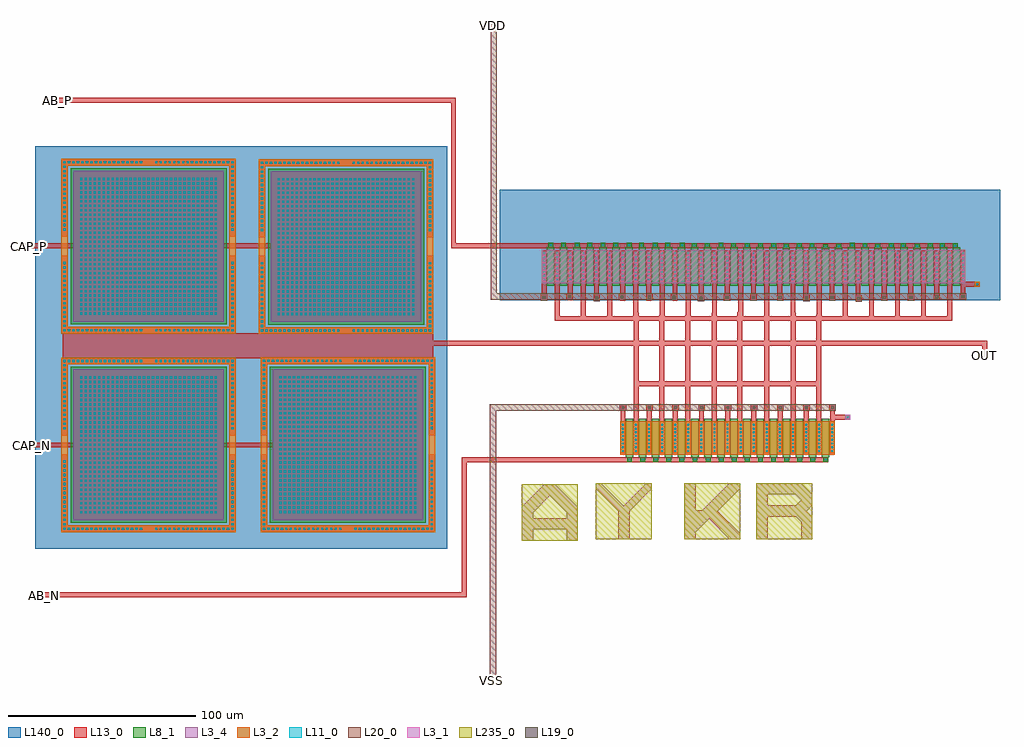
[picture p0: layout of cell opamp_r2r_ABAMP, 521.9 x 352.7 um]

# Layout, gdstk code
from math import pi, radians
import gdstk
lib = gdstk.Library(unit=1e-6, precision=1e-07)
def R(c, l, rs):  # rectangles x0, y0, x1, y1
    for r in rs: c.add(gdstk.rectangle(r[:2], r[2:], *l))
def A(c, l, x, y, w, h, nx, ny, dx, dy):  # array of equal rectangles
    R(c, l, [(x+i*dx, y+j*dy, x+i*dx+w, y+j*dy+h) for i in range(nx) for j in range(ny)])
def P(c, l, *ps):  # polygons
    for p in ps: c.add(gdstk.Polygon(p, *l))
L3_1 = (3, 1)
L3_2 = (3, 2)
L3_4 = (3, 4)
L8_1 = (8, 1)
L11_0 = (11, 0)
L13_0 = (13, 0)
L19_0 = (19, 0)
L20_0 = (20, 0)
L140_0 = (140, 0)
L235_0 = (235, 0)

moscap = lib.new_cell('moscap')
P(moscap, L3_2, [(-46.7,-46.7),(-46.7,43.1),(-43.1,43.1),(-43.1,-43.1),(43.1,-43.1),(43.1,43.1),(-46.7,43.1),(-46.7,46.7),(46.7,46.7),(46.7,-46.7)])
R(moscap, L3_4, [(-40.3,-40.3,40.3,40.3)])
R(moscap, L8_1, [(-41.7,-41.7,41.7,41.7)])
A(moscap, L11_0, -45.5, -45.5, 1.2, 1.2, 1, 18, 0, 2.4)
A(moscap, L11_0, -45.5, -45.5, 1.2, 1.2, 16, 2, 2.4, 89.8)
A(moscap, L11_0, 8.3, -45.5, 1.2, 1.2, 16, 2, 2.4, 89.8)
A(moscap, L11_0, 44.3, -45.5, 1.2, 1.2, 1, 18, 0, 2.4)
A(moscap, L11_0, -36.6, -36.6, 1.2, 1.2, 31, 31, 2.4, 2.4)
A(moscap, L11_0, -45.5, 3.5, 1.2, 1.2, 1, 18, 0, 2.4)
A(moscap, L11_0, 44.3, 3.5, 1.2, 1.2, 1, 18, 0, 2.4)
R(moscap, L13_0, [(-40.3,-40.3,40.3,40.3)])
P(moscap, L13_0, [(-46.7,-46.7),(-46.7,46.7),(-5,46.7),(-5,43.1),(-43.1,43.1),(-43.1,-43.1),(-5,-43.1),(-5,-46.7)],
  [(5,-46.7),(5,-43.1),(43.1,-43.1),(43.1,43.1),(5,43.1),(5,46.7),(46.7,46.7),(46.7,-46.7)])
R(moscap, L140_0, [(-49.7,-49.7,49.7,49.7)])

fet_p = lib.new_cell('fet_p')
R(fet_p, L3_1, [(-113.3,-9,113.3,9)])
A(fet_p, L11_0, -112.5, -7.5, 1, 1, 33, 8, 7, 2)
A(fet_p, L13_0, -113.3, -8.3, 2.6, 16.6, 33, 1, 7, 0)
fet_p.add(gdstk.FlexPath([(3.5,-10.2),(3.5,10.2)], 4, ends="flush", simple_path=True, layer=8, datatype=1))  # L8_1
fet_p.add(gdstk.FlexPath([(-3.5,-10.2),(-3.5,10.2)], 4, ends="flush", simple_path=True, layer=8, datatype=1))  # L8_1
fet_p.add(gdstk.FlexPath([(10.5,-10.2),(10.5,10.2)], 4, ends="flush", simple_path=True, layer=8, datatype=1))  # L8_1
fet_p.add(gdstk.FlexPath([(-10.5,-10.2),(-10.5,10.2)], 4, ends="flush", simple_path=True, layer=8, datatype=1))  # L8_1
fet_p.add(gdstk.FlexPath([(17.5,-10.2),(17.5,10.2)], 4, ends="flush", simple_path=True, layer=8, datatype=1))  # L8_1
fet_p.add(gdstk.FlexPath([(-17.5,-10.2),(-17.5,10.2)], 4, ends="flush", simple_path=True, layer=8, datatype=1))  # L8_1
fet_p.add(gdstk.FlexPath([(24.5,-10.2),(24.5,10.2)], 4, ends="flush", simple_path=True, layer=8, datatype=1))  # L8_1
fet_p.add(gdstk.FlexPath([(-24.5,-10.2),(-24.5,10.2)], 4, ends="flush", simple_path=True, layer=8, datatype=1))  # L8_1
fet_p.add(gdstk.FlexPath([(31.5,-10.2),(31.5,10.2)], 4, ends="flush", simple_path=True, layer=8, datatype=1))  # L8_1
fet_p.add(gdstk.FlexPath([(-31.5,-10.2),(-31.5,10.2)], 4, ends="flush", simple_path=True, layer=8, datatype=1))  # L8_1
fet_p.add(gdstk.FlexPath([(38.5,-10.2),(38.5,10.2)], 4, ends="flush", simple_path=True, layer=8, datatype=1))  # L8_1
fet_p.add(gdstk.FlexPath([(-38.5,-10.2),(-38.5,10.2)], 4, ends="flush", simple_path=True, layer=8, datatype=1))  # L8_1
fet_p.add(gdstk.FlexPath([(45.5,-10.2),(45.5,10.2)], 4, ends="flush", simple_path=True, layer=8, datatype=1))  # L8_1
fet_p.add(gdstk.FlexPath([(-45.5,-10.2),(-45.5,10.2)], 4, ends="flush", simple_path=True, layer=8, datatype=1))  # L8_1
fet_p.add(gdstk.FlexPath([(52.5,-10.2),(52.5,10.2)], 4, ends="flush", simple_path=True, layer=8, datatype=1))  # L8_1
fet_p.add(gdstk.FlexPath([(-52.5,-10.2),(-52.5,10.2)], 4, ends="flush", simple_path=True, layer=8, datatype=1))  # L8_1
fet_p.add(gdstk.FlexPath([(59.5,-10.2),(59.5,10.2)], 4, ends="flush", simple_path=True, layer=8, datatype=1))  # L8_1
fet_p.add(gdstk.FlexPath([(-59.5,-10.2),(-59.5,10.2)], 4, ends="flush", simple_path=True, layer=8, datatype=1))  # L8_1
fet_p.add(gdstk.FlexPath([(66.5,-10.2),(66.5,10.2)], 4, ends="flush", simple_path=True, layer=8, datatype=1))  # L8_1
fet_p.add(gdstk.FlexPath([(-66.5,-10.2),(-66.5,10.2)], 4, ends="flush", simple_path=True, layer=8, datatype=1))  # L8_1
fet_p.add(gdstk.FlexPath([(73.5,-10.2),(73.5,10.2)], 4, ends="flush", simple_path=True, layer=8, datatype=1))  # L8_1
fet_p.add(gdstk.FlexPath([(-73.5,-10.2),(-73.5,10.2)], 4, ends="flush", simple_path=True, layer=8, datatype=1))  # L8_1
fet_p.add(gdstk.FlexPath([(80.5,-10.2),(80.5,10.2)], 4, ends="flush", simple_path=True, layer=8, datatype=1))  # L8_1
fet_p.add(gdstk.FlexPath([(-80.5,-10.2),(-80.5,10.2)], 4, ends="flush", simple_path=True, layer=8, datatype=1))  # L8_1
fet_p.add(gdstk.FlexPath([(87.5,-10.2),(87.5,10.2)], 4, ends="flush", simple_path=True, layer=8, datatype=1))  # L8_1
fet_p.add(gdstk.FlexPath([(-87.5,-10.2),(-87.5,10.2)], 4, ends="flush", simple_path=True, layer=8, datatype=1))  # L8_1
fet_p.add(gdstk.FlexPath([(94.5,-10.2),(94.5,10.2)], 4, ends="flush", simple_path=True, layer=8, datatype=1))  # L8_1
fet_p.add(gdstk.FlexPath([(-94.5,-10.2),(-94.5,10.2)], 4, ends="flush", simple_path=True, layer=8, datatype=1))  # L8_1
fet_p.add(gdstk.FlexPath([(101.5,-10.2),(101.5,10.2)], 4, ends="flush", simple_path=True, layer=8, datatype=1))  # L8_1
fet_p.add(gdstk.FlexPath([(-101.5,-10.2),(-101.5,10.2)], 4, ends="flush", simple_path=True, layer=8, datatype=1))  # L8_1
fet_p.add(gdstk.FlexPath([(108.5,-10.2),(108.5,10.2)], 4, ends="flush", simple_path=True, layer=8, datatype=1))  # L8_1
fet_p.add(gdstk.FlexPath([(-108.5,-10.2),(-108.5,10.2)], 4, ends="flush", simple_path=True, layer=8, datatype=1))  # L8_1

fet_n = lib.new_cell('fet_n')
R(fet_n, L3_2, [(-57.3,-9,57.3,9)])
A(fet_n, L11_0, -56.5, -7.5, 1, 1, 17, 8, 7, 2)
A(fet_n, L13_0, -57.3, -8.3, 2.6, 16.6, 17, 1, 7, 0)
fet_n.add(gdstk.FlexPath([(3.5,-10.2),(3.5,10.2)], 4, ends="flush", simple_path=True, layer=8, datatype=1))  # L8_1
fet_n.add(gdstk.FlexPath([(-3.5,-10.2),(-3.5,10.2)], 4, ends="flush", simple_path=True, layer=8, datatype=1))  # L8_1
fet_n.add(gdstk.FlexPath([(10.5,-10.2),(10.5,10.2)], 4, ends="flush", simple_path=True, layer=8, datatype=1))  # L8_1
fet_n.add(gdstk.FlexPath([(-10.5,-10.2),(-10.5,10.2)], 4, ends="flush", simple_path=True, layer=8, datatype=1))  # L8_1
fet_n.add(gdstk.FlexPath([(17.5,-10.2),(17.5,10.2)], 4, ends="flush", simple_path=True, layer=8, datatype=1))  # L8_1
fet_n.add(gdstk.FlexPath([(-17.5,-10.2),(-17.5,10.2)], 4, ends="flush", simple_path=True, layer=8, datatype=1))  # L8_1
fet_n.add(gdstk.FlexPath([(24.5,-10.2),(24.5,10.2)], 4, ends="flush", simple_path=True, layer=8, datatype=1))  # L8_1
fet_n.add(gdstk.FlexPath([(-24.5,-10.2),(-24.5,10.2)], 4, ends="flush", simple_path=True, layer=8, datatype=1))  # L8_1
fet_n.add(gdstk.FlexPath([(31.5,-10.2),(31.5,10.2)], 4, ends="flush", simple_path=True, layer=8, datatype=1))  # L8_1
fet_n.add(gdstk.FlexPath([(-31.5,-10.2),(-31.5,10.2)], 4, ends="flush", simple_path=True, layer=8, datatype=1))  # L8_1
fet_n.add(gdstk.FlexPath([(38.5,-10.2),(38.5,10.2)], 4, ends="flush", simple_path=True, layer=8, datatype=1))  # L8_1
fet_n.add(gdstk.FlexPath([(-38.5,-10.2),(-38.5,10.2)], 4, ends="flush", simple_path=True, layer=8, datatype=1))  # L8_1
fet_n.add(gdstk.FlexPath([(45.5,-10.2),(45.5,10.2)], 4, ends="flush", simple_path=True, layer=8, datatype=1))  # L8_1
fet_n.add(gdstk.FlexPath([(-45.5,-10.2),(-45.5,10.2)], 4, ends="flush", simple_path=True, layer=8, datatype=1))  # L8_1
fet_n.add(gdstk.FlexPath([(52.5,-10.2),(52.5,10.2)], 4, ends="flush", simple_path=True, layer=8, datatype=1))  # L8_1
fet_n.add(gdstk.FlexPath([(-52.5,-10.2),(-52.5,10.2)], 4, ends="flush", simple_path=True, layer=8, datatype=1))  # L8_1

via_1 = lib.new_cell('via_1')
R(via_1, L13_0, [(-1.7,-1.7,1.7,1.7)])
R(via_1, L19_0, [(-0.7,-0.7,0.7,0.7)])
R(via_1, L20_0, [(-1.7,-1.7,1.7,1.7)])

cont_g = lib.new_cell('cont_g')
R(cont_g, L8_1, [(-1.3,-1.3,1.3,1.3)])
R(cont_g, L11_0, [(-0.5,-0.5,0.5,0.5)])
R(cont_g, L13_0, [(-1.3,-1.3,1.3,1.3)])

cont_n = lib.new_cell('cont_n')
R(cont_n, L3_2, [(-1.3,-1.3,1.3,1.3)])
R(cont_n, L11_0, [(-0.5,-0.5,0.5,0.5)])
R(cont_n, L13_0, [(-1.3,-1.3,1.3,1.3)])

cont_p = lib.new_cell('cont_p')
R(cont_p, L3_1, [(-1.3,-1.3,1.3,1.3)])
R(cont_p, L11_0, [(-0.5,-0.5,0.5,0.5)])
R(cont_p, L13_0, [(-1.3,-1.3,1.3,1.3)])

c_a = lib.new_cell('A')
P(c_a, L20_0, [(0,0),(0,18),(12,30),(18,30),(30,18),(30,0),(24,0),(24,6),(6,6),(6,12),(24,12),(24,15),(15,24),(6,15),(6,0)])
R(c_a, L235_0, [(0,0,30,30)])

c_y = lib.new_cell('Y')
P(c_y, L20_0, [(12,0),(12,15),(0,27),(0,30),(3,30),(15,18),(27,30),(30,30),(30,27),(18,15),(18,0)])
R(c_y, L235_0, [(0,0,30,30)])

c_k = lib.new_cell('K')
P(c_k, L20_0, [(0,0),(0,30),(6,30),(6,15.5),(9.5,15.5),(24,30),(30,30),(30,27),(18,15),(30,3),(30,0),(24,0),(13.2,10.8),(6,3.6),(6,0)])
R(c_k, L235_0, [(0,0,30,30)])

c_r = lib.new_cell('R')
P(c_r, L20_0, [(0,0),(0,30),(24,30),(30,24),(30,18),(27,15),(30,12),(30,0),(24,0),(24,9),(21,12),(6,12),(6,18),(21,18),(24,21),(21,24),(6,24),(6,0)])
R(c_r, L235_0, [(0,0,30,30)])

opamp_r2r_abamp = lib.new_cell('opamp_r2r_ABAMP')
R(opamp_r2r_abamp, L13_0, [(95.5,-62.8,147.3,-49.1)])
P(opamp_r2r_abamp, L13_0, [(-50.8,-62.7),(-50.8,-49.1),(93.6,-49.1),(96.3,-49.1),(96.3,-62.7),(93.3,-62.7)])
R(opamp_r2r_abamp, L140_0, [(-65.4,-164.4,154.8,50.8), (182.8,-31.7,450.4,27.6)])
opamp_r2r_abamp.add(gdstk.FlexPath([(430.6,-21.8),(430.6,-29.4),(429.3,-29.4)], 2.6, ends="flush", simple_path=True, layer=13, datatype=0))  # L13_0
opamp_r2r_abamp.add(gdstk.FlexPath([(423.6,-21.8),(423.6,-41.3),(213.6,-41.3),(213.6,-21.5)], 2.6, ends="flush", simple_path=True, layer=13, datatype=0))  # L13_0
opamp_r2r_abamp.add(gdstk.FlexPath([(416.6,-21.6),(416.6,-30),(415.3,-30),(415.3,-30)], 2.6, ends="flush", simple_path=True, layer=13, datatype=0))  # L13_0
opamp_r2r_abamp.add(gdstk.FlexPath([(409.5,-21.5),(409.5,-40.8)], 2.6, ends="flush", simple_path=True, layer=13, datatype=0))  # L13_0
opamp_r2r_abamp.add(gdstk.FlexPath([(402.6,-21.6),(402.6,-31.6)], 2.6, ends="flush", simple_path=True, layer=13, datatype=0))  # L13_0
opamp_r2r_abamp.add(gdstk.FlexPath([(395.6,-21.4),(395.6,-41)], 2.6, ends="flush", simple_path=True, layer=13, datatype=0))  # L13_0
opamp_r2r_abamp.add(gdstk.FlexPath([(388.6,-21.5),(388.6,-31.7)], 2.6, ends="flush", simple_path=True, layer=13, datatype=0))  # L13_0
opamp_r2r_abamp.add(gdstk.FlexPath([(381.7,-21.5),(381.7,-40.5)], 2.6, ends="flush", simple_path=True, layer=13, datatype=0))  # L13_0
opamp_r2r_abamp.add(gdstk.FlexPath([(374.5,-21.6),(374.5,-31.7)], 2.6, ends="flush", simple_path=True, layer=13, datatype=0))  # L13_0
opamp_r2r_abamp.add(gdstk.FlexPath([(367.6,-21.5),(367.6,-41.1)], 2.6, ends="flush", simple_path=True, layer=13, datatype=0))  # L13_0
opamp_r2r_abamp.add(gdstk.FlexPath([(360.6,-21.4),(360.6,-31.8)], 2.6, ends="flush", simple_path=True, layer=13, datatype=0))  # L13_0
opamp_r2r_abamp.add(gdstk.FlexPath([(353.7,-21.5),(353.7,-40.7)], 2.6, ends="flush", simple_path=True, layer=13, datatype=0))  # L13_0
opamp_r2r_abamp.add(gdstk.FlexPath([(346.6,-21.5),(346.6,-31.9)], 2.6, ends="flush", simple_path=True, layer=13, datatype=0))  # L13_0
opamp_r2r_abamp.add(gdstk.FlexPath([(339.7,-21.7),(339.7,-40.7)], 2.6, ends="flush", simple_path=True, layer=13, datatype=0))  # L13_0
opamp_r2r_abamp.add(gdstk.FlexPath([(325.7,-21.7),(325.7,-40.7)], 2.6, ends="flush", simple_path=True, layer=13, datatype=0))  # L13_0
opamp_r2r_abamp.add(gdstk.FlexPath([(311.7,-21.7),(311.7,-40.7)], 2.6, ends="flush", simple_path=True, layer=13, datatype=0))  # L13_0
opamp_r2r_abamp.add(gdstk.FlexPath([(297.7,-21.7),(297.7,-40.7)], 2.6, ends="flush", simple_path=True, layer=13, datatype=0))  # L13_0
opamp_r2r_abamp.add(gdstk.FlexPath([(283.7,-21.7),(283.7,-40.7)], 2.6, ends="flush", simple_path=True, layer=13, datatype=0))  # L13_0
opamp_r2r_abamp.add(gdstk.FlexPath([(269.7,-21.7),(269.7,-40.7)], 2.6, ends="flush", simple_path=True, layer=13, datatype=0))  # L13_0
opamp_r2r_abamp.add(gdstk.FlexPath([(255.7,-21.7),(255.7,-40.7)], 2.6, ends="flush", simple_path=True, layer=13, datatype=0))  # L13_0
opamp_r2r_abamp.add(gdstk.FlexPath([(241.7,-21.7),(241.7,-40.7)], 2.6, ends="flush", simple_path=True, layer=13, datatype=0))  # L13_0
opamp_r2r_abamp.add(gdstk.FlexPath([(332.6,-21.5),(332.6,-31.9)], 2.6, ends="flush", simple_path=True, layer=13, datatype=0))  # L13_0
opamp_r2r_abamp.add(gdstk.FlexPath([(318.6,-21.5),(318.6,-31.9)], 2.6, ends="flush", simple_path=True, layer=13, datatype=0))  # L13_0
opamp_r2r_abamp.add(gdstk.FlexPath([(304.6,-21.5),(304.6,-31.9)], 2.6, ends="flush", simple_path=True, layer=13, datatype=0))  # L13_0
opamp_r2r_abamp.add(gdstk.FlexPath([(290.6,-21.5),(290.6,-31.9)], 2.6, ends="flush", simple_path=True, layer=13, datatype=0))  # L13_0
opamp_r2r_abamp.add(gdstk.FlexPath([(276.6,-21.5),(276.6,-31.9)], 2.6, ends="flush", simple_path=True, layer=13, datatype=0))  # L13_0
opamp_r2r_abamp.add(gdstk.FlexPath([(262.6,-21.5),(262.6,-31.9)], 2.6, ends="flush", simple_path=True, layer=13, datatype=0))  # L13_0
opamp_r2r_abamp.add(gdstk.FlexPath([(248.6,-21.5),(248.6,-31.9)], 2.6, ends="flush", simple_path=True, layer=13, datatype=0))  # L13_0
opamp_r2r_abamp.add(gdstk.FlexPath([(234.6,-21.5),(234.6,-31.9)], 2.6, ends="flush", simple_path=True, layer=13, datatype=0))  # L13_0
opamp_r2r_abamp.add(gdstk.FlexPath([(227.6,-21.3),(227.6,-40.3)], 2.6, ends="flush", simple_path=True, layer=13, datatype=0))  # L13_0
opamp_r2r_abamp.add(gdstk.FlexPath([(220.6,-21.7),(220.6,-31.6)], 2.6, ends="flush", simple_path=True, layer=13, datatype=0))  # L13_0
opamp_r2r_abamp.add(gdstk.FlexPath([(206.7,-21.7),(206.7,-31.9)], 2.6, ends="flush", simple_path=True, layer=13, datatype=0))  # L13_0
opamp_r2r_abamp.add(gdstk.FlexPath([(255.9,-38.2),(255.9,-96.7)], 2.6, ends="flush", simple_path=True, layer=13, datatype=0))  # L13_0
opamp_r2r_abamp.add(gdstk.FlexPath([(269.6,-39.5),(269.6,-97.4)], 2.6, ends="flush", simple_path=True, layer=13, datatype=0))  # L13_0
opamp_r2r_abamp.add(gdstk.FlexPath([(283.4,-39.5),(283.4,-97.3)], 2.6, ends="flush", simple_path=True, layer=13, datatype=0))  # L13_0
opamp_r2r_abamp.add(gdstk.FlexPath([(297.6,-38.6),(297.6,-97)], 2.6, ends="flush", simple_path=True, layer=13, datatype=0))  # L13_0
opamp_r2r_abamp.add(gdstk.FlexPath([(311.3,-38.1),(311.3,-97.2)], 2.6, ends="flush", simple_path=True, layer=13, datatype=0))  # L13_0
opamp_r2r_abamp.add(gdstk.FlexPath([(325.6,-37.3),(325.6,-96.7)], 2.6, ends="flush", simple_path=True, layer=13, datatype=0))  # L13_0
opamp_r2r_abamp.add(gdstk.FlexPath([(339.9,-38.3),(339.9,-97.5)], 2.6, ends="flush", simple_path=True, layer=13, datatype=0))  # L13_0
opamp_r2r_abamp.add(gdstk.FlexPath([(353.4,-39.3),(353.4,-97)], 2.6, ends="flush", simple_path=True, layer=13, datatype=0))  # L13_0
opamp_r2r_abamp.add(gdstk.FlexPath([(430.6,-23.1),(439.6,-23.1)], 2.6, ends="flush", simple_path=True, layer=13, datatype=0))  # L13_0
opamp_r2r_abamp.add(gdstk.FlexPath([(360.8,-97),(360.8,-87.2)], 2.6, ends="flush", simple_path=True, layer=13, datatype=0))  # L13_0
opamp_r2r_abamp.add(gdstk.FlexPath([(360.4,-94.1),(370.3,-94.1)], 2.6, ends="flush", simple_path=True, layer=13, datatype=0))  # L13_0
opamp_r2r_abamp.add(gdstk.FlexPath([(346.8,-97),(346.8,-87.2)], 2.6, ends="flush", simple_path=True, layer=13, datatype=0))  # L13_0
opamp_r2r_abamp.add(gdstk.FlexPath([(332.8,-97),(332.8,-87.2)], 2.6, ends="flush", simple_path=True, layer=13, datatype=0))  # L13_0
opamp_r2r_abamp.add(gdstk.FlexPath([(318.8,-97),(318.8,-87.2)], 2.6, ends="flush", simple_path=True, layer=13, datatype=0))  # L13_0
opamp_r2r_abamp.add(gdstk.FlexPath([(304.8,-97),(304.8,-87.2)], 2.6, ends="flush", simple_path=True, layer=13, datatype=0))  # L13_0
opamp_r2r_abamp.add(gdstk.FlexPath([(290.8,-97),(290.8,-87.2)], 2.6, ends="flush", simple_path=True, layer=13, datatype=0))  # L13_0
opamp_r2r_abamp.add(gdstk.FlexPath([(276.8,-97),(276.8,-87.2)], 2.6, ends="flush", simple_path=True, layer=13, datatype=0))  # L13_0
opamp_r2r_abamp.add(gdstk.FlexPath([(262.8,-97),(262.8,-87.2)], 2.6, ends="flush", simple_path=True, layer=13, datatype=0))  # L13_0
opamp_r2r_abamp.add(gdstk.FlexPath([(248.8,-97),(248.8,-87.2)], 2.6, ends="flush", simple_path=True, layer=13, datatype=0))  # L13_0
opamp_r2r_abamp.add(gdstk.FlexPath([(358.5,-116.9),(164,-116.9),(164,-189),(-61.5,-189)], 2.6, ends="flush", simple_path=True, layer=13, datatype=0))  # L13_0
opamp_r2r_abamp.add(gdstk.FlexPath([(255.8,-76.3),(353.9,-76.3)], 2.6, ends="flush", simple_path=True, layer=13, datatype=0))  # L13_0
opamp_r2r_abamp.add(gdstk.FlexPath([(146.7,-54.6),(442.3,-54.6),(442.3,-61.6)], 2.6, ends="flush", simple_path=True, layer=13, datatype=0))  # L13_0
opamp_r2r_abamp.add(gdstk.FlexPath([(140.7,-2.5),(-71.5,-2.5)], 2.6, ends="flush", simple_path=True, layer=13, datatype=0))  # L13_0
opamp_r2r_abamp.add(gdstk.FlexPath([(142.1,-109),(-68,-109)], 2.6, ends="flush", simple_path=True, layer=13, datatype=0))  # L13_0
opamp_r2r_abamp.add(gdstk.FlexPath([(255.8,-95.1),(255.8,-97.3)], 2.6, ends="flush", simple_path=True, layer=13, datatype=0))  # L13_0
opamp_r2r_abamp.add(gdstk.FlexPath([(325.7,-95.7),(325.7,-97.2)], 2.6, ends="flush", simple_path=True, layer=13, datatype=0))  # L13_0
opamp_r2r_abamp.add(gdstk.FlexPath([(427.7,-2.4),(158.2,-2.4),(158.2,75.4),(-54.3,75.4)], 2.6, ends="flush", simple_path=True, layer=13, datatype=0))  # L13_0
opamp_r2r_abamp.add(gdstk.FlexPath([(432.4,-29.6),(179.7,-29.6),(179.7,116.3)], 3.4, ends="flush", simple_path=True, layer=20, datatype=0))  # L20_0
opamp_r2r_abamp.add(gdstk.FlexPath([(362.5,-88.9),(179.3,-88.9),(179.3,-236.4)], 3.4, ends="flush", simple_path=True, layer=20, datatype=0))  # L20_0
opamp_r2r_abamp.add(gdstk.Reference(moscap, (-4.9,-2.7), rotation=pi/2))
opamp_r2r_abamp.add(gdstk.Reference(moscap, (100.7,-2.9), rotation=pi/2))
opamp_r2r_abamp.add(gdstk.Reference(moscap, (-4.9,-108.9), rotation=pi/2))
opamp_r2r_abamp.add(gdstk.Reference(moscap, (101.7,-108.8), rotation=pi/2))
opamp_r2r_abamp.add(gdstk.Reference(fet_p, (318.6,-13.5)))
opamp_r2r_abamp.add(gdstk.Reference(fet_n, (304.7,-105.2)))
opamp_r2r_abamp.add(gdstk.Reference(via_1, (416.6,-29.7)))
opamp_r2r_abamp.add(gdstk.Reference(via_1, (430.7,-29.5)))
opamp_r2r_abamp.add(gdstk.Reference(via_1, (402.8,-30.1)))
opamp_r2r_abamp.add(gdstk.Reference(via_1, (388.5,-30.2)))
opamp_r2r_abamp.add(gdstk.Reference(via_1, (374.9,-30.7)))
opamp_r2r_abamp.add(gdstk.Reference(via_1, (360.7,-30.2)))
opamp_r2r_abamp.add(gdstk.Reference(via_1, (346.9,-30.3)))
opamp_r2r_abamp.add(gdstk.Reference(via_1, (332.9,-30.1)))
opamp_r2r_abamp.add(gdstk.Reference(via_1, (318.5,-30.1)))
opamp_r2r_abamp.add(gdstk.Reference(via_1, (304.4,-30.2)))
opamp_r2r_abamp.add(gdstk.Reference(via_1, (290.6,-30.5)))
opamp_r2r_abamp.add(gdstk.Reference(via_1, (276.1,-30)))
opamp_r2r_abamp.add(gdstk.Reference(via_1, (263,-30)))
opamp_r2r_abamp.add(gdstk.Reference(via_1, (248.3,-29.9)))
opamp_r2r_abamp.add(gdstk.Reference(via_1, (234.8,-30.3)))
opamp_r2r_abamp.add(gdstk.Reference(via_1, (220.2,-29.6)))
opamp_r2r_abamp.add(gdstk.Reference(via_1, (206.6,-30.2)))
opamp_r2r_abamp.add(gdstk.Reference(cont_g, (210.1,-2)))
opamp_r2r_abamp.add(gdstk.Reference(cont_g, (217,-2.1)))
opamp_r2r_abamp.add(gdstk.Reference(cont_g, (224.3,-2)))
opamp_r2r_abamp.add(gdstk.Reference(cont_g, (231.1,-2.1)))
opamp_r2r_abamp.add(gdstk.Reference(cont_g, (238.1,-2.2)))
opamp_r2r_abamp.add(gdstk.Reference(cont_g, (244.9,-2.1)))
opamp_r2r_abamp.add(gdstk.Reference(cont_g, (252.1,-2.2)))
opamp_r2r_abamp.add(gdstk.Reference(cont_g, (258.7,-2.2)))
opamp_r2r_abamp.add(gdstk.Reference(cont_g, (266.1,-2.2)))
opamp_r2r_abamp.add(gdstk.Reference(cont_g, (272.8,-2.2)))
opamp_r2r_abamp.add(gdstk.Reference(cont_g, (280.4,-2.2)))
opamp_r2r_abamp.add(gdstk.Reference(cont_g, (286.9,-2.3)))
opamp_r2r_abamp.add(gdstk.Reference(cont_g, (293.9,-2.3)))
opamp_r2r_abamp.add(gdstk.Reference(cont_g, (301.2,-2.2)))
opamp_r2r_abamp.add(gdstk.Reference(cont_g, (307.9,-2.3)))
opamp_r2r_abamp.add(gdstk.Reference(cont_g, (315.2,-2.5)))
opamp_r2r_abamp.add(gdstk.Reference(cont_g, (322.3,-2.3)))
opamp_r2r_abamp.add(gdstk.Reference(cont_g, (329.5,-2.4)))
opamp_r2r_abamp.add(gdstk.Reference(cont_g, (336.1,-2.7)))
opamp_r2r_abamp.add(gdstk.Reference(cont_g, (343.1,-2.4)))
opamp_r2r_abamp.add(gdstk.Reference(cont_g, (349.9,-2.4)))
opamp_r2r_abamp.add(gdstk.Reference(cont_g, (357.1,-2.8)))
opamp_r2r_abamp.add(gdstk.Reference(cont_g, (364.1,-2.7)))
opamp_r2r_abamp.add(gdstk.Reference(cont_g, (371.4,-2.2)))
opamp_r2r_abamp.add(gdstk.Reference(cont_g, (378.2,-2.4)))
opamp_r2r_abamp.add(gdstk.Reference(cont_g, (385.1,-2.7)))
opamp_r2r_abamp.add(gdstk.Reference(cont_g, (392.2,-2.4)))
opamp_r2r_abamp.add(gdstk.Reference(cont_g, (398.7,-2.4)))
opamp_r2r_abamp.add(gdstk.Reference(cont_g, (406.1,-2.7)))
opamp_r2r_abamp.add(gdstk.Reference(cont_g, (413.1,-2.3)))
opamp_r2r_abamp.add(gdstk.Reference(cont_g, (419.6,-2.5)))
opamp_r2r_abamp.add(gdstk.Reference(cont_g, (426.5,-2.5)))
opamp_r2r_abamp.add(gdstk.Reference(via_1, (360.9,-88.9)))
opamp_r2r_abamp.add(gdstk.Reference(via_1, (346.9,-88.9)))
opamp_r2r_abamp.add(gdstk.Reference(via_1, (332.9,-88.9)))
opamp_r2r_abamp.add(gdstk.Reference(via_1, (318.9,-88.9)))
opamp_r2r_abamp.add(gdstk.Reference(via_1, (304.9,-88.9)))
opamp_r2r_abamp.add(gdstk.Reference(via_1, (290.9,-88.9)))
opamp_r2r_abamp.add(gdstk.Reference(via_1, (276.9,-88.9)))
opamp_r2r_abamp.add(gdstk.Reference(via_1, (262.9,-88.9)))
opamp_r2r_abamp.add(gdstk.Reference(via_1, (248.9,-88.9)))
opamp_r2r_abamp.add(gdstk.Reference(cont_n, (438.3,-23)))
opamp_r2r_abamp.add(gdstk.Reference(cont_p, (368.9,-94.2)))
opamp_r2r_abamp.add(gdstk.Reference(cont_g, (357.3,-116.7)))
opamp_r2r_abamp.add(gdstk.Reference(cont_g, (350.3,-116.7)))
opamp_r2r_abamp.add(gdstk.Reference(cont_g, (343.3,-116.7)))
opamp_r2r_abamp.add(gdstk.Reference(cont_g, (336.3,-116.7)))
opamp_r2r_abamp.add(gdstk.Reference(cont_g, (329.3,-116.7)))
opamp_r2r_abamp.add(gdstk.Reference(cont_g, (322.3,-116.7)))
opamp_r2r_abamp.add(gdstk.Reference(cont_g, (315.3,-116.7)))
opamp_r2r_abamp.add(gdstk.Reference(cont_g, (308.3,-116.7)))
opamp_r2r_abamp.add(gdstk.Reference(cont_g, (301.3,-116.7)))
opamp_r2r_abamp.add(gdstk.Reference(cont_g, (294.3,-116.7)))
opamp_r2r_abamp.add(gdstk.Reference(cont_g, (287.3,-116.7)))
opamp_r2r_abamp.add(gdstk.Reference(cont_g, (280.3,-116.7)))
opamp_r2r_abamp.add(gdstk.Reference(cont_g, (273.3,-116.7)))
opamp_r2r_abamp.add(gdstk.Reference(cont_g, (266.3,-116.7)))
opamp_r2r_abamp.add(gdstk.Reference(cont_g, (259.3,-116.7)))
opamp_r2r_abamp.add(gdstk.Reference(cont_g, (252.3,-116.7)))
opamp_r2r_abamp.add(gdstk.Reference(c_a, (194.7,-160.1)))
opamp_r2r_abamp.add(gdstk.Reference(c_y, (234.3,-159.4)))
opamp_r2r_abamp.add(gdstk.Reference(c_k, (281.6,-159.3)))
opamp_r2r_abamp.add(gdstk.Reference(c_r, (320.1,-159.3)))
opamp_r2r_abamp.add(gdstk.Label('VDD', (179.1,115.2), layer=49, texttype=0))
opamp_r2r_abamp.add(gdstk.Label('VSS', (178.7,-235.1), layer=49, texttype=0))
opamp_r2r_abamp.add(gdstk.Label('AB_N', (-60.3,-189.2), layer=48, texttype=0))
opamp_r2r_abamp.add(gdstk.Label('CAP_N', (-67.4,-109.2), layer=48, texttype=0))
opamp_r2r_abamp.add(gdstk.Label('AB_P', (-53.8,75.2), layer=48, texttype=0))
opamp_r2r_abamp.add(gdstk.Label('OUT', (441.9,-60.9), layer=48, texttype=0))
opamp_r2r_abamp.add(gdstk.Label('CAP_P', (-68.9,-2.7), layer=48, texttype=0))

lib.write_gds('opamp_r2r_ABAMP.gds')
